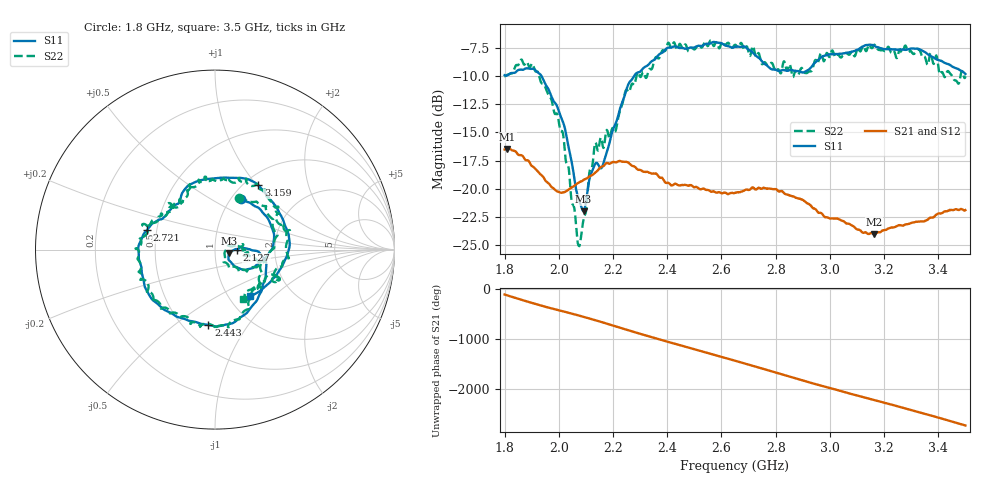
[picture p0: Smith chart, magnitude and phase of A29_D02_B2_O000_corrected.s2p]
! Created with skrf 1.9.0 (http://scikit-rf.org).
# Hz S RI R 50.0
!freq ReS11 ImS11 ReS21 ImS21 ReS12 ImS12 ReS22 ImS22
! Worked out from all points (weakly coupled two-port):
!   1601 points, 1.8 GHz to 3.5 GHz, reference 50 ohm
!   highest |S21| = -16.46 dB at 1.81 GHz (marker M1); lowest = -24.0 dB at 3.163 GHz (marker M2)
!   lowest |S11| = -22.0 dB at 2.091 GHz (marker M3), VSWR 1.17, Z = 58.3 - j2.51 ohm
!   |S11| at or under -10 dB: 1.936 GHz to 2.278 GHz (342.1 MHz wide, 16.2 % of centre)
!   |S22| runs from -25.1 to -6.9 dB; largest |S21 - S12| = 0.0026
!   S11 on the Smith chart (normalised r, x): 1.8 GHz: 1.11, +0.70; 2.127 GHz: 1.28, -0.00; 2.443 GHz: 0.66, -0.67; 2.721 GHz: 0.44, +0.11; 3.159 GHz: 1.15, +1.02; 3.5 GHz: 1.25, -0.72
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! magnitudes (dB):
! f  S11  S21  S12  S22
! 1.8 GHz  -9.9  -16.5  -16.5  -10.0
! 1.81 GHz  -10.0  -16.5  -16.5  -9.9
! 1.902 GHz  -9.4  -18.0  -18.0  -8.9
! 1.967 GHz  -11.5  -19.6  -19.7  -11.8
! 2.015 GHz  -14.0  -20.3  -20.3  -15.0
! 2.071 GHz  -20.7  -19.5  -19.5  -24.9
! 2.084 GHz  -21.6  -19.3  -19.3  -23.9
! 2.091 GHz  -22.0  -19.2  -19.3  -22.7
! 2.127 GHz  -18.2  -18.7  -18.7  -17.2
! 2.163 GHz  -17.8  -18.0  -17.9  -16.3
! 2.21 GHz  -14.2  -17.7  -17.6  -14.8
! 2.26 GHz  -10.6  -17.8  -17.8  -11.4
! 2.367 GHz  -8.2  -18.9  -18.8  -8.5
! 2.443 GHz  -7.5  -19.7  -19.7  -7.3
! 2.65 GHz  -7.4  -20.4  -20.3  -7.2
! 2.721 GHz  -8.1  -20.0  -19.9  -7.8
! 2.812 GHz  -9.6  -20.2  -20.1  -9.5
! 2.934 GHz  -9.2  -21.6  -21.6  -9.5
! 3.159 GHz  -7.3  -24.0  -23.9  -7.4
! 3.163 GHz  -7.3  -24.0  -24.0  -7.3
! 3.217 GHz  -7.6  -23.5  -23.5  -7.5
! 3.5 GHz  -9.8  -21.9  -21.9  -10.0
